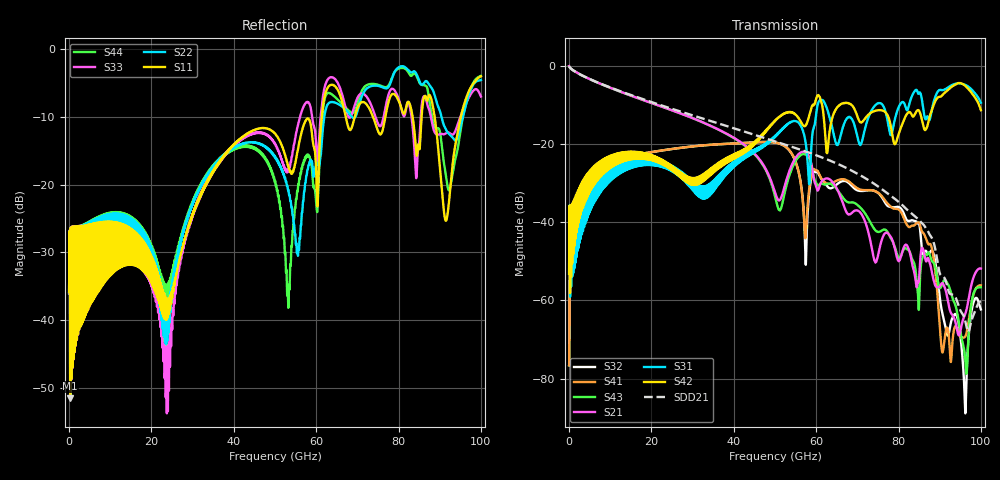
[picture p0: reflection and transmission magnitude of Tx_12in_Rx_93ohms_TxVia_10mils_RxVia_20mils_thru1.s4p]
! Info: Touchstone file created by Circ.  Input file=Tx_12in_Rx_93ohms_TxVia_10mils_RxVia_20mils.circ
# Hz S RI R 50
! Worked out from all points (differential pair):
!   10000 points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, 10 MHz to 100 GHz, reference 50 ohm
!   strongest paths, dB at 10 MHz, 25.01 GHz, 50.01 GHz, 75.01 GHz, 100 GHz:
!     S42: -53.2, -26.6, -14.2, -11.4, -11.4
!     S31: -53.2, -26.6, -18.3, -9.6, -9.5
!     S21: -0.1, -11.4, -32.4, -48.4, -51.9
!     S43: -0.1, -11.4, -33.4, -42.5, -56.6
!     S41: -76.6, -21.3, -19.7, -32.5, -56.1
!     S32: -76.6, -21.3, -19.6, -32.5, -62.3
!   taken as a pair (ports 1,3 in; 2,4 out), SDD21 dB: -0.1, -11.0, -19.4, -30.9, -60.3
!   lowest |S11| = -51.6 dB at 270 MHz (marker M1), VSWR 1.01, Z = 49.8 - j0.204 ohm
!   |S11| at or under -10 dB: start of sweep to 61.37 GHz; 73.81 GHz to 76.8 GHz (2.989 GHz wide, 3.97 % of centre); 88.77 GHz to 95.13 GHz (6.356 GHz wide, 6.91 % of centre) (the widest 3 of 5)
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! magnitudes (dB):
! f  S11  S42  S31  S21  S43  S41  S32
! 10 MHz  -35.9  -53.2  -53.2  -0.1  -0.1  -76.6  -76.6
! 270 MHz  -51.6  -47.1  -47.2  -0.6  -0.6  -50.7  -50.7
! 7.29 GHz  -34.0  -24.8  -25.9  -4.5  -4.5  -26.5  -26.5
! 23.91 GHz  -37.6  -25.9  -26.2  -11.0  -11.0  -21.5  -21.5
! 48.79 GHz  -11.9  -15.3  -19.0  -28.7  -29.2  -19.6  -19.5
! 90.69 GHz  -21.7  -7.5  -6.3  -55.6  -55.6  -73.3  -63.5
! 100 GHz  -4.0  -11.4  -9.5  -51.9  -56.6  -56.1  -62.3
